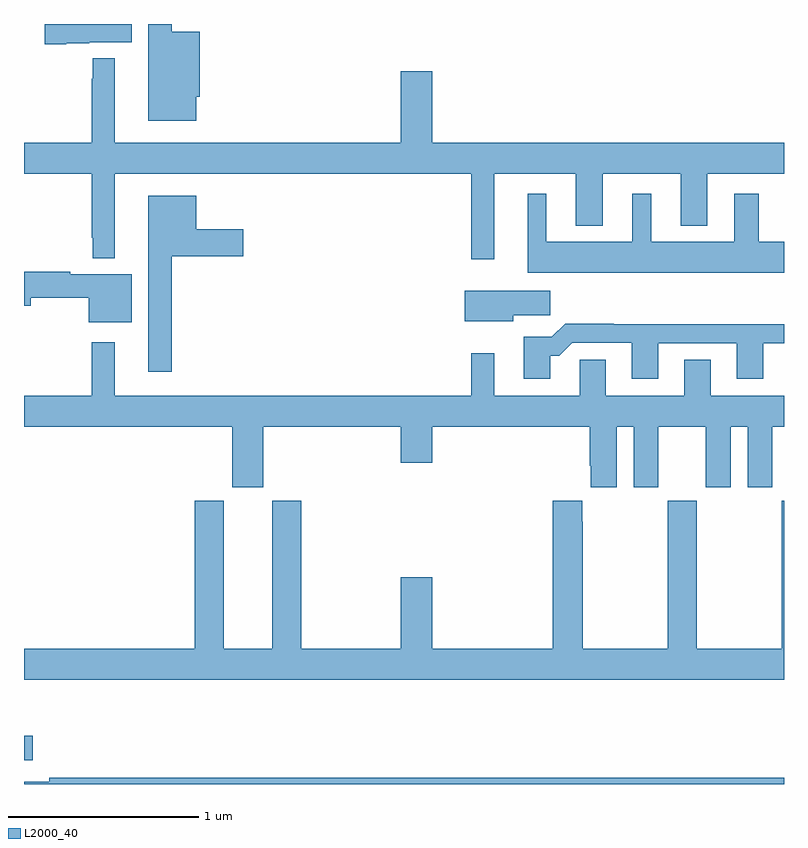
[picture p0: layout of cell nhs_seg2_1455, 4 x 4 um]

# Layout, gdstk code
import gdstk
lib = gdstk.Library(unit=1e-6, precision=1e-09)
def R(c, l, rs):  # rectangles x0, y0, x1, y1
    for r in rs: c.add(gdstk.rectangle(r[:2], r[2:], *l))
def P(c, l, *ps):  # polygons
    for p in ps: c.add(gdstk.Polygon(p, *l))
L2000_40 = (2000, 40)

nhs_seg2_1455 = lib.new_cell('nhs_seg2_1455')
R(nhs_seg2_1455, L2000_40, [(187,601.925,187.045,602.055)])
P(nhs_seg2_1455, L2000_40, [(187.906,605.418),(187.924,605.418),(187.924,605.758),(187.777,605.758),(187.777,605.8),(187.655,605.8),(187.655,605.291),(187.906,605.291)],
  [(187.222,605.699),(187.344,605.699),(187.344,605.705),(187.567,605.705),(187.567,605.8),(187.11,605.8),(187.11,605.693),(187.222,605.693)],
  [(189.475,605.012),(189.905,605.012),(189.905,604.739),(190.045,604.739),(190.045,605.012),(190.457,605.012),(190.457,604.739),(190.597,604.739),(190.597,605.012),(191,605.012),(191,605.176),(189.148,605.176),(189.148,605.551),(188.984,605.551),(188.984,605.176),(187.477,605.176),(187.477,605.62),(187.363,605.62),(187.363,605.513),(187.356,605.513),(187.356,605.176),(187,605.176),(187,605.012),(187.356,605.012),(187.356,604.675),(187.362,604.675),(187.362,604.568),(187.477,604.568),(187.477,605.012),(189.354,605.012),(189.354,604.563),(189.475,604.563)],
  [(191,604.654),(190.867,604.654),(190.867,604.906),(190.739,604.906),(190.739,604.654),(190.3,604.654),(190.3,604.906),(190.202,604.906),(190.202,604.654),(189.748,604.654),(189.748,604.906),(189.65,604.906),(189.65,604.49),(191,604.49)],
  [(187.777,604.577),(188.155,604.577),(188.155,604.719),(187.906,604.719),(187.906,604.897),(187.655,604.897),(187.655,603.969),(187.777,603.969)],
  [(187.567,604.483),(187.244,604.483),(187.244,604.496),(187,604.496),(187,604.318),(187.036,604.318),(187.036,604.36),(187.34,604.36),(187.34,604.229),(187.567,604.229)],
  [(189.574,604.267),(189.769,604.267),(189.769,604.396),(189.32,604.396),(189.32,604.235),(189.574,604.235)],
  [(189.769,604.055),(189.818,604.055),(189.885,604.122),(190.199,604.122),(190.199,603.933),(190.339,603.933),(190.339,604.119),(190.751,604.119),(190.751,603.933),(190.891,603.933),(190.891,604.119),(191,604.119),(191,604.22),(190.103,604.22),(190.103,604.223),(189.848,604.223),(189.778,604.153),(189.629,604.153),(189.629,603.933),(189.769,603.933)],
  [(188.26,603.68),(188.984,603.68),(188.984,603.492),(189.148,603.492),(189.148,603.68),(189.977,603.68),(189.977,603.475),(189.983,603.475),(189.983,603.363),(190.12,603.363),(190.12,603.68),(190.208,603.68),(190.208,603.363),(190.339,603.363),(190.339,603.68),(190.589,603.68),(190.589,603.363),(190.72,603.363),(190.72,603.68),(190.808,603.68),(190.808,603.363),(190.939,603.363),(190.939,603.68),(191,603.68),(191,603.844),(190.615,603.844),(190.615,604.034),(190.475,604.034),(190.475,603.844),(190.063,603.844),(190.063,604.034),(189.924,604.034),(189.924,603.844),(189.475,603.844),(189.475,604.066),(189.354,604.066),(189.354,603.844),(187.477,603.844),(187.477,604.126),(187.356,604.126),(187.356,603.844),(187,603.844),(187,603.68),(188.096,603.68),(188.096,603.363),(188.26,603.363)],
  [(191,603.292),(190.987,603.292),(190.987,602.512),(190.542,602.512),(190.542,603.292),(190.387,603.292),(190.387,602.512),(189.942,602.512),(189.942,603.179),(189.937,603.179),(189.937,603.292),(189.782,603.292),(189.782,602.512),(189.148,602.512),(189.148,602.887),(188.984,602.887),(188.984,602.512),(188.459,602.512),(188.459,603.291),(188.306,603.291),(188.306,602.512),(188.05,602.512),(188.05,603.291),(187.898,603.291),(187.898,602.512),(187,602.512),(187,602.348),(191,602.348)],
  [(191,601.832),(187.132,601.832),(187.132,601.812),(187,601.812),(187,601.8),(191,601.8)])

lib.write_gds('nhs_seg2_1455.gds')
